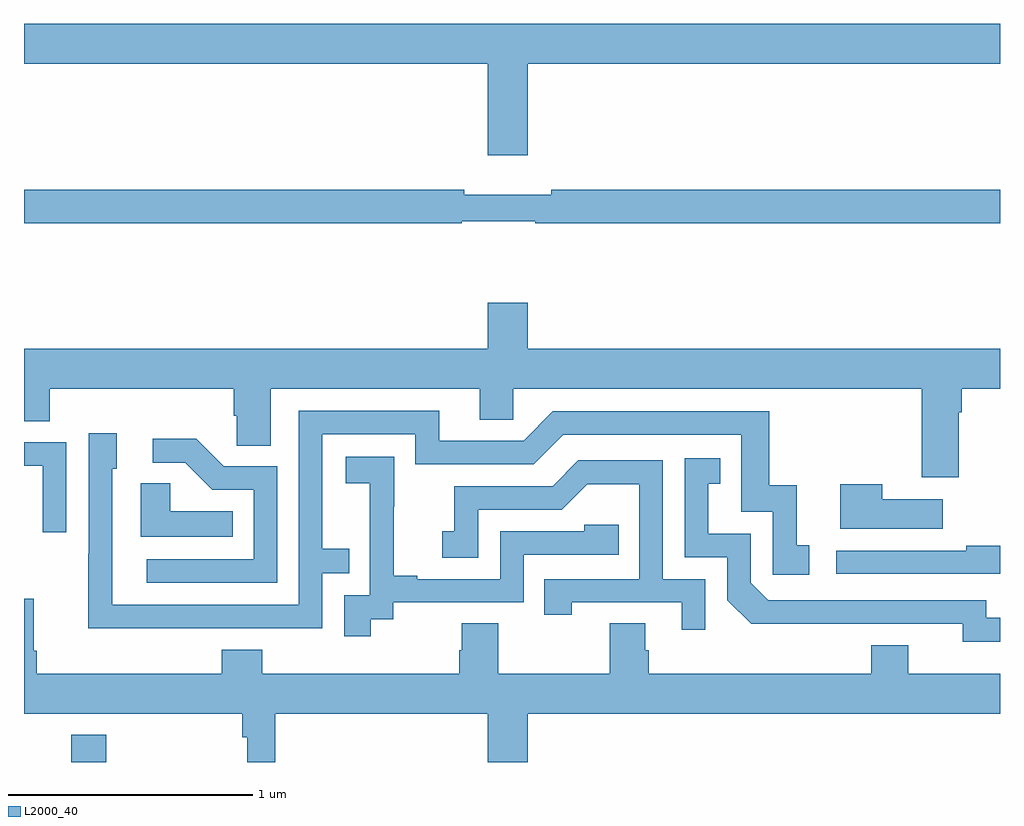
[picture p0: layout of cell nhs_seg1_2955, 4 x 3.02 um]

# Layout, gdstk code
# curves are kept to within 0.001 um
import gdstk
lib = gdstk.Library(unit=1e-6, precision=1e-09)
def R(c, l, rs):  # rectangles x0, y0, x1, y1
    for r in rs: c.add(gdstk.rectangle(r[:2], r[2:], *l))
def P(c, l, *ps):  # polygons
    for p in ps: c.add(gdstk.Polygon(p, *l))
L2000_40 = (2000, 40)

nhs_seg1_2955 = lib.new_cell('nhs_seg1_2955')
R(nhs_seg1_2955, L2000_40, [(271.194,554.199,271.338,554.311)])
P(nhs_seg1_2955, L2000_40, [(273.064,557.06),(275,557.06),(275,557.224),(271,557.224),(271,557.06),(272.9,557.06),(272.9,556.686),(273.064,556.686)],
  [(272.795,556.416),(273.095,556.416),(273.095,556.408),(275,556.408),(275,556.544),(273.16,556.544),(273.16,556.525),(272.804,556.525),(272.804,556.544),(271,556.544),(271,556.408),(272.795,556.408)],
  [(274.831,555.632),(274.844,555.632),(274.844,555.728),(275,555.728),(275,555.892),(273.064,555.892),(273.064,556.081),(272.9,556.081),(272.9,555.892),(271,555.892),(271,555.595),(271.106,555.595),(271.106,555.728),(271.859,555.728),(271.859,555.619),(271.872,555.619),(271.872,555.496),(272.011,555.496),(272.011,555.728),(272.867,555.728),(272.867,555.601),(273.006,555.601),(273.006,555.728),(274.679,555.728),(274.679,555.366),(274.831,555.366)],
  [(271.727,554.748),(272.223,554.748),(272.223,554.973),(272.333,554.973),(272.333,555.074),(272.223,555.074),(272.223,555.543),(272.604,555.543),(272.604,555.42),(273.09,555.42),(273.21,555.54),(273.939,555.54),(273.939,555.225),(274.068,555.225),(274.068,554.967),(274.219,554.967),(274.219,555.087),(274.166,555.087),(274.166,555.334),(274.055,555.334),(274.055,555.636),(273.168,555.636),(273.048,555.516),(272.701,555.516),(272.701,555.639),(272.127,555.639),(272.127,554.844),(271.362,554.844),(271.362,555.402),(271.381,555.402),(271.381,555.547),(271.266,555.547),(271.266,555.053),(271.264,555.053),(271.264,554.747)],
  [(272.037,555.411),(271.818,555.411),(271.705,555.524),(271.527,555.524),(271.527,555.426),(271.661,555.426),(271.772,555.315),(271.941,555.315),(271.941,555.03),(271.503,555.03),(271.503,554.934),(272.037,554.934)],
  [(271.173,555.51),(271,555.51),(271,555.414),(271.077,555.414),(271.077,555.141),(271.173,555.141)],
  [(272.422,554.785),(272.514,554.785),(272.514,554.853),(273.048,554.853),(273.048,555.048),(273.437,555.048),(273.437,555.171),(273.297,555.171),(273.297,555.144),(272.952,555.144),(272.952,554.949),(272.611,554.949),(272.611,554.962),(272.516,554.962),(272.516,555.245),(272.517,555.245),(272.517,555.451),(272.319,555.451),(272.319,555.341),(272.417,555.341),(272.417,555.113),(272.418,555.113),(272.418,554.883),(272.313,554.883),(272.313,554.715),(272.422,554.715)],
  [(275,554.79),(274.944,554.79),(274.944,554.862),(274.05,554.862),(273.978,554.934),(273.978,555.135),(273.805,555.135),(273.805,555.339),(273.854,555.339),(273.854,555.445),(273.708,555.445),(273.708,555.039),(273.882,555.039),(273.882,554.862),(273.98,554.765),(274.848,554.766),(274.848,554.693),(275,554.693)],
  [(273.792,554.949),(273.618,554.949),(273.618,555.435),(273.272,555.435),(273.167,555.33),(272.764,555.33),(272.764,555.145),(272.715,555.145),(272.715,555.036),(272.862,555.036),(272.862,555.234),(273.204,555.234),(273.308,555.338),(273.522,555.338),(273.522,554.949),(273.133,554.949),(273.133,554.802),(273.244,554.802),(273.244,554.853),(273.695,554.853),(273.695,554.742),(273.792,554.742)],
  [(271.856,555.226),(271.599,555.226),(271.599,555.341),(271.478,555.341),(271.478,555.122),(271.856,555.122)],
  [(274.765,555.277),(274.517,555.277),(274.517,555.337),(274.346,555.337),(274.346,555.155),(274.765,555.155)],
  [(275,555.086),(274.861,555.086),(274.861,555.066),(274.329,555.066),(274.329,554.97),(275,554.97)],
  [(273.4,554.768),(273.4,554.56),(272.943,554.56),(272.943,554.768),(272.795,554.768),(272.795,554.658),(272.783,554.658),(272.783,554.56),(271.976,554.56),(271.976,554.659),(271.811,554.659),(271.811,554.56),(271.052,554.56),(271.052,554.656),(271.039,554.656),(271.039,554.869),(271,554.869),(271,554.396),(271.894,554.396),(271.894,554.3),(271.914,554.3),(271.914,554.199),(272.03,554.199),(272.03,554.396),(272.9,554.396),(272.9,554.199),(273.064,554.199),(273.064,554.396),(275,554.396),(275,554.56),(274.624,554.56),(274.624,554.677),(274.472,554.677),(274.472,554.56),(273.56,554.56),(273.56,554.658),(273.547,554.658),(273.547,554.768)])

lib.write_gds('nhs_seg1_2955.gds')
